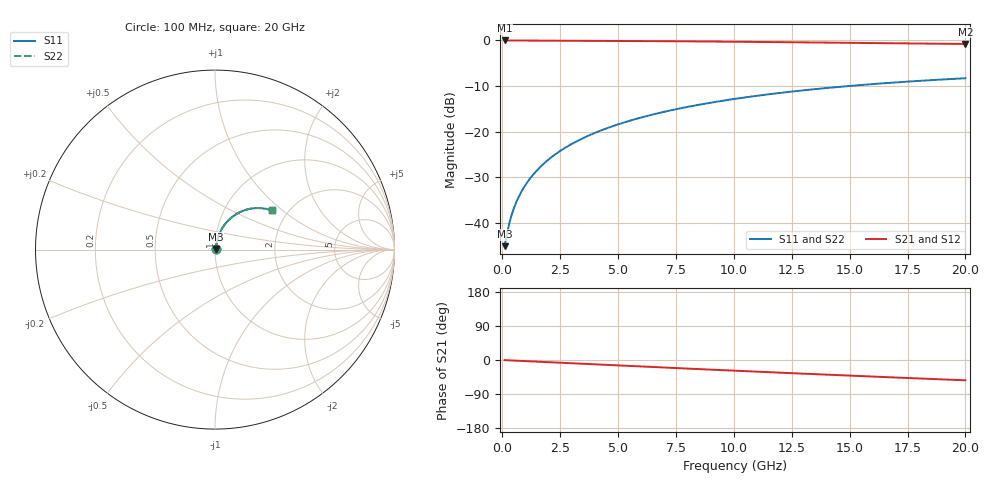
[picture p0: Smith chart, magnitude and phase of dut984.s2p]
! Touchstone file exported from HFSS 2026.1.0
!  File:  C:/ffzhzh/LocalFiles/Ansys_Project_Files/temp_train_TMRDL_984_1783159261_51560.aedt
!  Generated:  06:02:30 PM Jul  4, 2026
!  Design:  TMRDL
!  Project:  temp_train_TMRDL_984_1783159261_51560
! Variables:
!  h_bsmrdl = 2um
!  h_ox = 20um
!  h_rdl = 5um
!  h_sub = 80um
!  h_tmrdl = 2.28um
!  h_tsv = 80um
!  h_via = 3um
!  l_bsmrdl = 300um
!  l_sub = 1246.5um
!  l_tmrdl = 846.5um
!  m_sub = 200um
!  pitch = 50.28um
!  r_tsv = 6um
!  s_tmrdl = 10um
!  w_bsmrdl = 18um
!  w_sub = 500um
!  w_tmrdl = 29.53um
!  x_tsv_center1 = 861.265um
!  x_tsv_center2 = 1179.265um
!  x_tsv_center3 = 2055.295um
!  x_tsv_center4 = 2373.295um
!  x_tsv_center5 = 3249.325um
!  x_tsv_center6 = 3567.325um
# GHz S MA R 50.000000
! Terminal data exported
! Port[1] = TM_RDL1_1_T1
! Port[2] = TM_RDL1_1_T2
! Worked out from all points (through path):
!   200 points, 100 MHz to 20 GHz, reference 50 ohm
!   highest |S21| = -0.04 dB at 100 MHz (marker M1); lowest = -0.8 dB at 20 GHz (marker M2)
!   group delay of S21, straight-line fit = 7.45 ps
!   lowest |S11| = -45.1 dB at 100 MHz (marker M3), VSWR 1.01, Z = 50.5 + j0.288 ohm
!   |S11| at or under -10 dB: start of sweep to 15 GHz
!   |S22| runs from -45.1 to -8.3 dB; largest |S21 - S12| = 5.5e-14
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0.1  0.00558 30.7  0.9952 -0.3  0.9952 -0.3  0.00558 30.7
! Gamma 0 0 0 0
! Port Impedance 50 0 50 0
0.2  0.007555 47.9  0.995 -0.6  0.995 -0.6  0.007555 47.9
0.3  0.009855 56.6  0.9947 -0.9  0.9947 -0.9  0.009854 56.6
0.4  0.0122 61.6  0.9944 -1.2  0.9944 -1.2  0.0122 61.6
0.5  0.01454 64.9  0.9941 -1.5  0.9941 -1.5  0.01454 64.9
0.6  0.01685 67.3  0.9939 -1.8  0.9939 -1.8  0.01685 67.3
0.8  0.02146 70.5  0.9935 -2.4  0.9935 -2.4  0.02146 70.5
1.1  0.02842 73.4  0.9931 -3.2  0.9931 -3.2  0.02842 73.4
1.3  0.0331 74.5  0.9928 -3.8  0.9928 -3.8  0.0331 74.5
1.6  0.04016 75.6  0.9924 -4.6  0.9924 -4.6  0.04016 75.6
2.1  0.05201 76.2  0.9917 -6.1  0.9917 -6.1  0.05201 76.2
2.7  0.06625 76.0  0.9907 -7.8  0.9907 -7.8  0.06625 76.0
3.5  0.08516 75.0  0.989 -10.1  0.989 -10.1  0.08517 75.0
4.2  0.1016 73.7  0.9873 -12.1  0.9873 -12.1  0.1016 73.7
5  0.1201 71.9  0.985 -14.3  0.985 -14.3  0.1201 72.0
5.9  0.1406 69.8  0.982 -16.8  0.982 -16.8  0.1406 69.9
6.8  0.1606 67.6  0.9786 -19.4  0.9786 -19.4  0.1606 67.6
8.3  0.1928 63.8  0.9722 -23.5  0.9722 -23.5  0.1929 63.8
10.1  0.2295 59.2  0.9636 -28.4  0.9636 -28.4  0.2295 59.2
13.4  0.2901 50.7  0.9461 -37.1  0.9461 -37.1  0.2901 50.8
16.7  0.3417 42.5  0.928 -45.5  0.928 -45.5  0.3417 42.6
20  0.3841 34.6  0.9108 -53.6  0.9108 -53.6  0.3841 34.7
